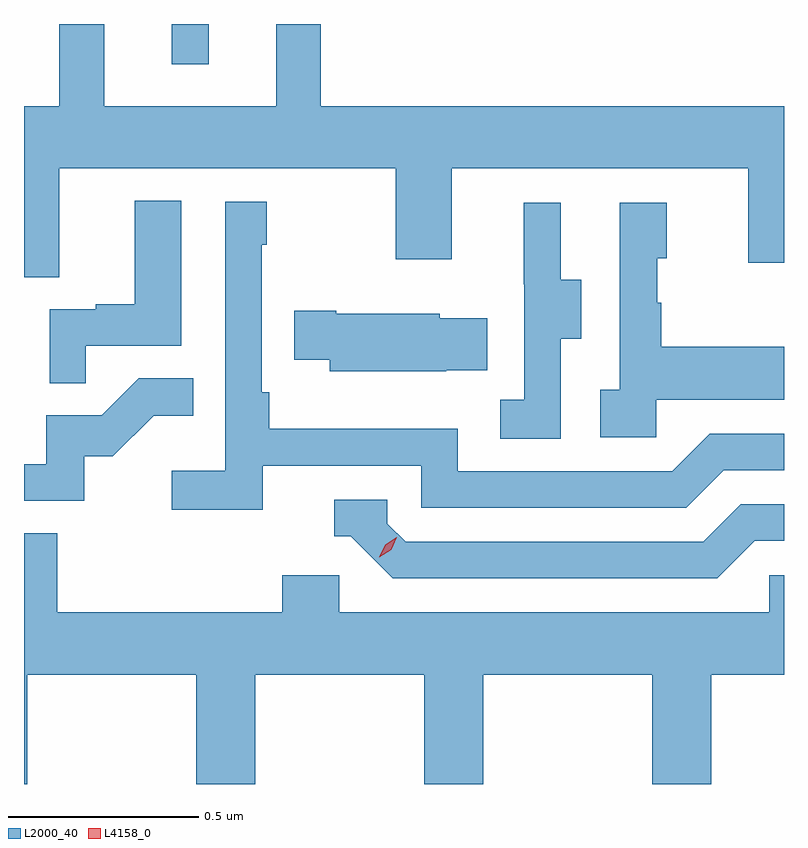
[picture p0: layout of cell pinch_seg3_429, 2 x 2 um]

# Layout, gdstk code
import gdstk
lib = gdstk.Library(unit=1e-6, precision=1e-09)
def R(c, l, rs):  # rectangles x0, y0, x1, y1
    for r in rs: c.add(gdstk.rectangle(r[:2], r[2:], *l))
def P(c, l, *ps):  # polygons
    for p in ps: c.add(gdstk.Polygon(p, *l))
L2000_40 = (2000, 40)
L4158_0 = (4158, 0)

pinch_seg3_429 = lib.new_cell('pinch_seg3_429')
R(pinch_seg3_429, L2000_40, [(921.591,705.186,921.688,705.292)])
P(pinch_seg3_429, L2000_40, [(921.295,704.912),(922.18,704.912),(922.18,704.673),(922.327,704.673),(922.327,704.912),(923.108,704.912),(923.108,704.664),(923.202,704.664),(923.202,705.076),(921.983,705.076),(921.983,705.292),(921.866,705.292),(921.866,705.076),(921.413,705.076),(921.413,705.292),(921.295,705.292),(921.295,705.076),(921.202,705.076),(921.202,704.626),(921.295,704.626)],
  [(921.365,704.445),(921.616,704.445),(921.616,704.827),(921.494,704.827),(921.494,704.554),(921.391,704.554),(921.391,704.541),(921.27,704.541),(921.27,704.347),(921.365,704.347)],
  [(921.83,704.13),(922.248,704.13),(922.248,704.019),(922.945,704.019),(923.044,704.118),(923.202,704.118),(923.202,704.214),(923.007,704.214),(922.908,704.115),(922.344,704.115),(922.344,704.227),(921.848,704.227),(921.848,704.323),(921.828,704.323),(921.828,704.711),(921.841,704.711),(921.841,704.824),(921.732,704.824),(921.732,704.116),(921.591,704.116),(921.591,704.014),(921.83,704.014)],
  [(922.866,704.303),(923.202,704.303),(923.202,704.443),(922.879,704.443),(922.879,704.558),(922.869,704.558),(922.869,704.676),(922.894,704.676),(922.894,704.821),(922.77,704.821),(922.77,704.33),(922.719,704.33),(922.719,704.205),(922.866,704.205)],
  [(922.614,704.464),(922.669,704.464),(922.669,704.619),(922.615,704.619),(922.615,704.821),(922.517,704.821),(922.517,704.607),(922.518,704.607),(922.518,704.303),(922.455,704.303),(922.455,704.2),(922.614,704.2)],
  [(922.313,704.381),(922.421,704.381),(922.421,704.518),(922.296,704.518),(922.296,704.53),(922.024,704.53),(922.024,704.538),(921.913,704.538),(921.913,704.408),(922.007,704.408),(922.007,704.378),(922.313,704.378)],
  [(921.36,704.154),(921.436,704.154),(921.543,704.261),(921.647,704.261),(921.647,704.36),(921.504,704.36),(921.406,704.262),(921.261,704.262),(921.261,704.133),(921.202,704.133),(921.202,704.037),(921.36,704.037)],
  [(923.125,703.932),(923.202,703.932),(923.202,704.028),(923.088,704.028),(922.989,703.929),(922.206,703.929),(922.158,703.977),(922.158,704.04),(922.019,704.04),(922.019,703.944),(922.062,703.944),(922.173,703.833),(923.026,703.833)],
  [(921.29,703.952),(921.202,703.952),(921.202,703.292),(921.21,703.292),(921.21,703.58),(921.655,703.58),(921.655,703.292),(921.81,703.292),(921.81,703.58),(922.255,703.58),(922.255,703.292),(922.41,703.292),(922.41,703.58),(922.855,703.58),(922.855,703.292),(923.01,703.292),(923.01,703.58),(923.202,703.58),(923.202,703.842),(923.163,703.842),(923.163,703.744),(922.032,703.744),(922.032,703.842),(921.881,703.842),(921.881,703.744),(921.29,703.744)])
P(pinch_seg3_429, L4158_0, [(922.137,703.889),(922.137,703.889),(922.153,703.922),(922.183,703.942),(922.183,703.942),(922.183,703.942),(922.168,703.909),(922.137,703.889)])

lib.write_gds('pinch_seg3_429.gds')
